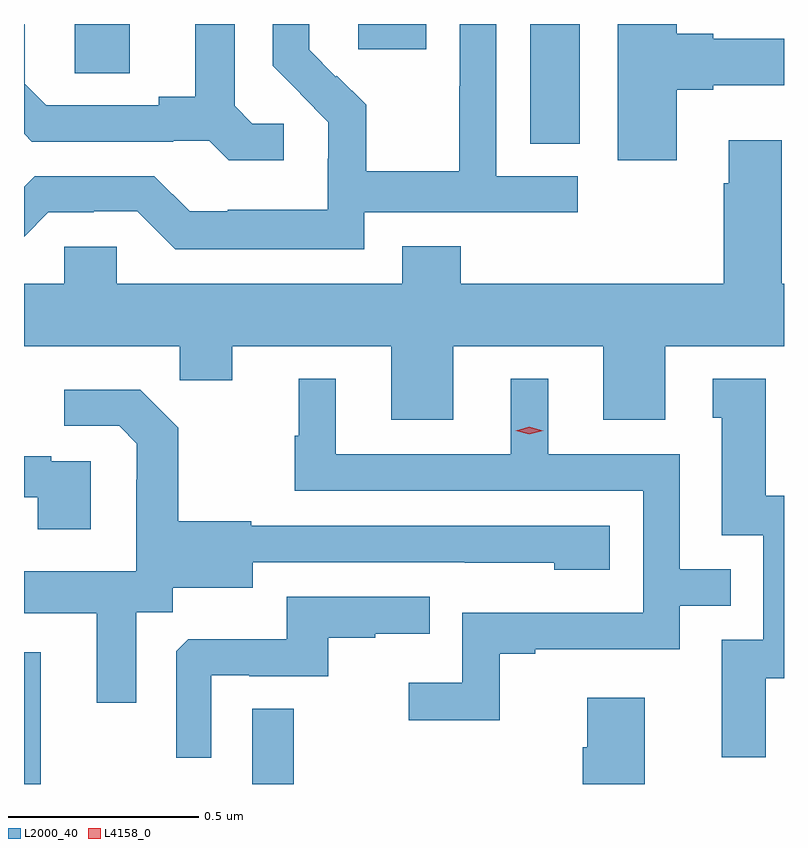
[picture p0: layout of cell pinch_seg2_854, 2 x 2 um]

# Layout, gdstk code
import gdstk
lib = gdstk.Library(unit=1e-6, precision=1e-09)
def R(c, l, rs):  # rectangles x0, y0, x1, y1
    for r in rs: c.add(gdstk.rectangle(r[:2], r[2:], *l))
def P(c, l, *ps):  # polygons
    for p in ps: c.add(gdstk.Polygon(p, *l))
L2000_40 = (2000, 40)
L4158_0 = (4158, 0)

pinch_seg2_854 = lib.new_cell('pinch_seg2_854')
R(pinch_seg2_854, L2000_40, [(815.369,619.844,815.413,620.191), (815.97,619.844,816.079,620.042), (816.701,621.529,816.832,621.844), (815.502,621.715,815.647,621.844), (816.248,621.777,816.427,621.844)])
P(pinch_seg2_854, L2000_40, [(816.264,621.348),(816.826,621.348),(816.826,621.444),(816.612,621.444),(816.612,621.844),(816.516,621.844),(816.516,621.68),(816.514,621.68),(816.514,621.457),(816.269,621.457),(816.269,621.631),(816.192,621.708),(816.189,621.705),(816.119,621.776),(816.119,621.844),(816.024,621.844),(816.024,621.734),(816.097,621.661),(816.096,621.66),(816.17,621.586),(816.17,621.489),(816.168,621.489),(816.168,621.355),(815.905,621.355),(815.905,621.351),(815.805,621.351),(815.712,621.444),(815.397,621.444),(815.369,621.416),(815.369,621.284),(815.433,621.348),(815.552,621.348),(815.552,621.351),(815.667,621.351),(815.767,621.251),(816.264,621.251)],
  [(816.052,621.582),(815.97,621.582),(815.923,621.629),(815.923,621.844),(815.819,621.844),(815.819,621.653),(815.723,621.653),(815.723,621.63),(815.428,621.63),(815.371,621.687),(815.371,621.844),(815.369,621.844),(815.369,621.555),(815.39,621.534),(815.762,621.534),(815.762,621.537),(815.856,621.537),(815.908,621.485),(816.052,621.485)],
  [(817.087,621.671),(817.183,621.671),(817.183,621.683),(817.369,621.683),(817.369,621.805),(817.183,621.805),(817.183,621.818),(817.087,621.818),(817.087,621.844),(816.932,621.844),(816.932,621.486),(817.087,621.486)],
  [(816.365,621.16),(815.613,621.16),(815.613,621.258),(815.475,621.258),(815.475,621.16),(815.369,621.16),(815.369,620.996),(815.779,620.996),(815.779,620.906),(815.917,620.906),(815.917,620.996),(816.335,620.996),(816.335,620.802),(816.499,620.802),(816.499,620.996),(816.893,620.996),(816.893,620.802),(817.057,620.802),(817.057,620.996),(817.369,620.996),(817.369,621.16),(817.363,621.16),(817.363,621.538),(817.223,621.538),(817.223,621.425),(817.211,621.425),(817.211,621.16),(816.518,621.16),(816.518,621.259),(816.365,621.259)],
  [(817.321,620.122),(817.369,620.122),(817.369,620.603),(817.321,620.603),(817.321,620.911),(817.181,620.911),(817.181,620.808),(817.205,620.808),(817.205,620.499),(817.314,620.499),(817.314,620.223),(817.205,620.223),(817.205,619.914),(817.321,619.914)],
  [(816.621,620.187),(816.715,620.187),(816.715,620.199),(817.095,620.199),(817.095,620.313),(817.229,620.313),(817.229,620.409),(817.095,620.409),(817.095,620.712),(816.748,620.712),(816.748,620.911),(816.65,620.911),(816.65,620.712),(816.19,620.712),(816.19,620.911),(816.092,620.911),(816.092,620.76),(816.081,620.76),(816.081,620.616),(816.999,620.616),(816.999,620.295),(816.522,620.295),(816.522,620.11),(816.381,620.11),(816.381,620.012),(816.621,620.012)],
  [(815.665,620.296),(815.76,620.296),(815.76,620.36),(815.971,620.36),(815.971,620.427),(816.529,620.427),(816.529,620.426),(816.765,620.426),(816.765,620.408),(816.91,620.408),(816.91,620.523),(815.967,620.523),(815.967,620.536),(815.775,620.536),(815.775,620.781),(815.675,620.881),(815.475,620.881),(815.475,620.787),(815.619,620.787),(815.666,620.74),(815.666,620.645),(815.664,620.645),(815.664,620.404),(815.369,620.404),(815.369,620.294),(815.561,620.294),(815.561,620.058),(815.665,620.058)],
  [(815.545,620.694),(815.441,620.694),(815.441,620.707),(815.369,620.707),(815.369,620.598),(815.405,620.598),(815.405,620.514),(815.545,620.514)],
  [(815.862,620.13),(815.962,620.13),(815.962,620.127),(816.17,620.127),(816.17,620.229),(816.293,620.229),(816.293,620.24),(816.437,620.24),(816.437,620.337),(816.06,620.337),(816.06,620.225),(815.801,620.225),(815.769,620.193),(815.769,619.913),(815.862,619.913)],
  [(817.003,620.071),(816.851,620.071),(816.851,619.941),(816.839,619.941),(816.839,619.844),(817.003,619.844)])
P(pinch_seg2_854, L4158_0, [(816.699,620.764),(816.663,620.774),(816.663,620.774),(816.663,620.774),(816.699,620.784),(816.735,620.774),(816.735,620.774),(816.735,620.774)])

lib.write_gds('pinch_seg2_854.gds')
